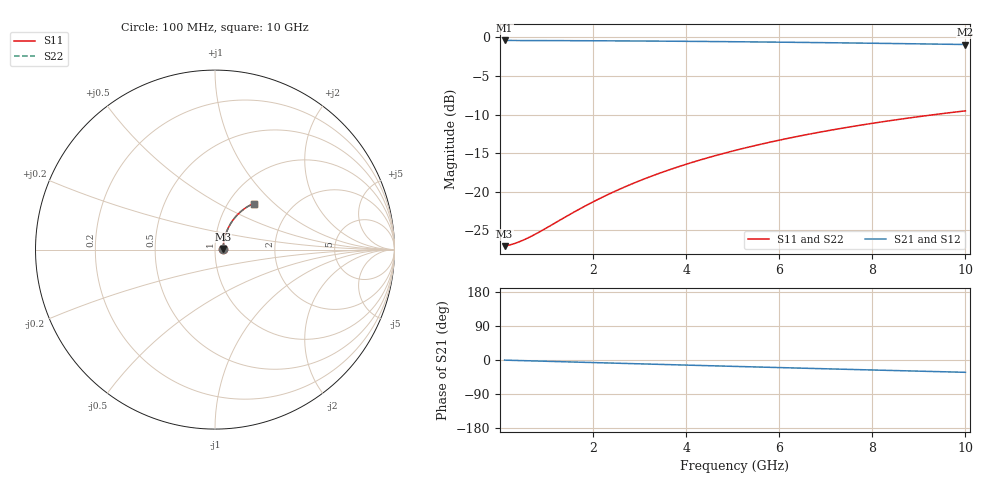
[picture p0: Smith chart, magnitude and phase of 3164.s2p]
# Hz S RI R 50.00
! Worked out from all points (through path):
!   100 points, 100 MHz to 10 GHz, reference 50 ohm
!   highest |S21| = -0.39 dB at 100 MHz (marker M1); lowest = -0.9 dB at 10 GHz (marker M2)
!   group delay of S21, straight-line fit = 9.04 ps
!   lowest |S11| = -27.0 dB at 100 MHz (marker M3), VSWR 1.09, Z = 54.6 + j0.372 ohm
!   |S11| at or under -10 dB: start of sweep to 9.336 GHz
!   |S22| runs from -27.0 to -9.5 dB; largest |S21 - S12| = 0
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1e8  0.0443 0.0034  0.9557 -0.00565  0.9557 -0.00565  0.0443 0.0034
3e8  0.045 0.0102  0.955 -0.0169  0.955 -0.0169  0.045 0.0102
4e8  0.0453 0.0136  0.9547 -0.0226  0.9547 -0.0226  0.0453 0.0136
6e8  0.0459 0.0203  0.954 -0.0338  0.954 -0.0338  0.0459 0.0203
9e8  0.0471 0.0304  0.9526 -0.0507  0.9526 -0.0507  0.0471 0.0304
1.5e9  0.0505 0.0504  0.9489 -0.0842  0.9489 -0.0842  0.0505 0.0504
1.8e9  0.0526 0.0603  0.9465 -0.1008  0.9465 -0.1008  0.0526 0.0603
2.2e9  0.056 0.0733  0.9427 -0.1228  0.9427 -0.1228  0.056 0.0733
2.6e9  0.0599 0.0861  0.9383 -0.1447  0.9383 -0.1447  0.0599 0.0861
3e9  0.0645 0.0987  0.9332 -0.1663  0.9332 -0.1663  0.0645 0.0987
3.4e9  0.0695 0.111  0.9274 -0.1876  0.9274 -0.1876  0.0695 0.111
3.8e9  0.0752 0.123  0.921 -0.2087  0.921 -0.2087  0.0752 0.123
4.2e9  0.0813 0.1348  0.914 -0.2294  0.914 -0.2294  0.0813 0.1348
4.6e9  0.088 0.1461  0.9065 -0.2498  0.9065 -0.2498  0.088 0.1461
5.1e9  0.097 0.1598  0.8962 -0.2748  0.8962 -0.2748  0.097 0.1598
5.5e9  0.1047 0.1703  0.8874 -0.2944  0.8874 -0.2944  0.1047 0.1703
5.9e9  0.1128 0.1804  0.878 -0.3135  0.878 -0.3135  0.1128 0.1804
6.7e9  0.1303 0.1993  0.8579 -0.3505  0.8579 -0.3505  0.1303 0.1993
7.5e9  0.1491 0.2163  0.836 -0.3857  0.836 -0.3857  0.1491 0.2163
8.4e9  0.1717 0.2331  0.8096 -0.4229  0.8096 -0.4229  0.1717 0.2331
9.2e9  0.1927 0.2459  0.7848 -0.454  0.7848 -0.454  0.1927 0.2459
1e10  0.2145 0.2567  0.7588 -0.4831  0.7588 -0.4831  0.2145 0.2567
